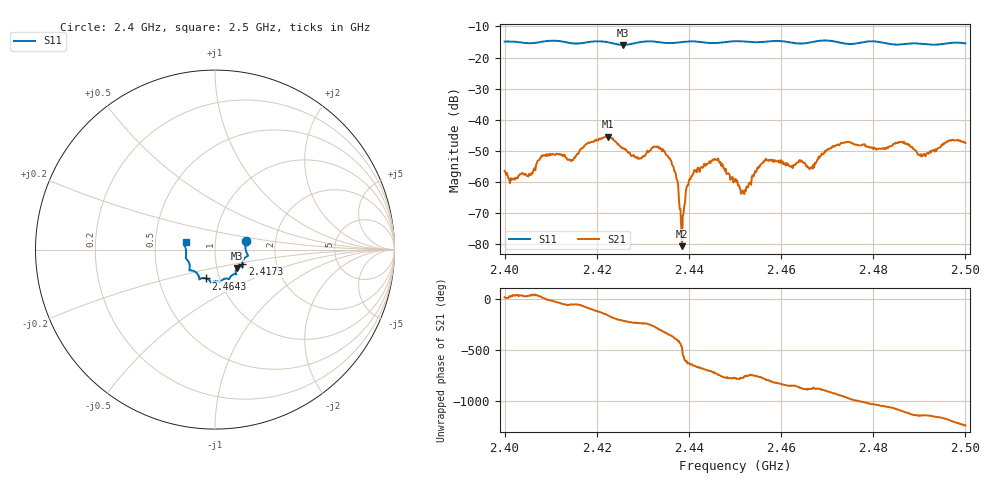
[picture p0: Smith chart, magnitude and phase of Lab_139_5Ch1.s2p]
# Hz S RI R 50
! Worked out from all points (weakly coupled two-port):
!   601 points, 2.4 GHz to 2.5 GHz, reference 50 ohm
!   highest |S21| = -45.44 dB at 2.4223 GHz (marker M1); lowest = -80.7 dB at 2.4385 GHz (marker M2)
!   lowest |S11| = -15.9 dB at 2.4257 GHz (marker M3), VSWR 1.38, Z = 62.4 - j13.1 ohm
!   |S11| at or under -10 dB: start of sweep to end of sweep
!   S12 and S22 are empty: the file has one direction only
!   S11 on the Smith chart (normalised r, x): 2.4 GHz: 1.41, +0.14; 2.4173 GHz: 1.34, -0.23; 2.4643 GHz: 0.86, -0.28; 2.5 GHz: 0.72, +0.06
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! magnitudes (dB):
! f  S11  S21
! 2.4 GHz  -14.9  -56.5
! 2.4053 GHz  -15.4  -57.4
! 2.4083 GHz  -14.8  -51.4
! 2.4167 GHz  -15.4  -49.3
! 2.4173 GHz  -15.2  -48.3
! 2.4223 GHz  -15.0  -45.4
! 2.4257 GHz  -15.9  -49.1
! 2.4292 GHz  -15.1  -52.4
! 2.4333 GHz  -15.0  -48.7
! 2.4367 GHz  -15.3  -55.3
! 2.4385 GHz  -15.0  -80.7
! 2.4398 GHz  -14.8  -61.1
! 2.4415 GHz  -14.8  -56.3
! 2.4458 GHz  -15.3  -52.8
! 2.45 GHz  -14.7  -59.8
! 2.4518 GHz  -14.8  -63.4
! 2.4567 GHz  -14.9  -52.5
! 2.4643 GHz  -15.5  -53.1
! 2.4667 GHz  -15.0  -55.2
! 2.4733 GHz  -15.4  -47.5
! 2.4833 GHz  -15.6  -48.7
! 2.5 GHz  -15.4  -47.5
